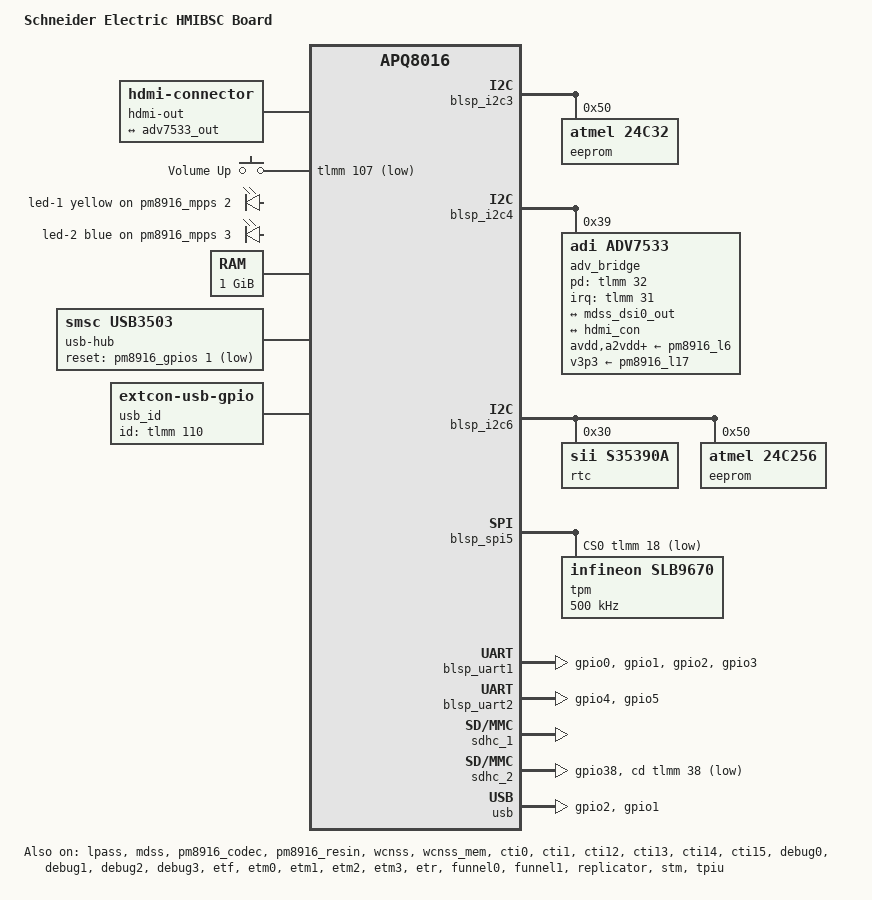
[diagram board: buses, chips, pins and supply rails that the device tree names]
// SPDX-License-Identifier: GPL-2.0-only
/*
 * Copyright (c) 2015, The Linux Foundation. All rights reserved.
 * Copyright (c) 2024, Linaro Ltd.
 */

/dts-v1/;

#include "msm8916-pm8916.dtsi"
#include <dt-bindings/gpio/gpio.h>
#include <dt-bindings/input/input.h>
#include <dt-bindings/leds/common.h>
#include <dt-bindings/pinctrl/qcom,pmic-gpio.h>
#include <dt-bindings/pinctrl/qcom,pmic-mpp.h>
#include <dt-bindings/sound/apq8016-lpass.h>

/ {
	model = "Schneider Electric HMIBSC Board";
	compatible = "schneider,apq8016-hmibsc", "qcom,apq8016";

	aliases {
		i2c1 = &blsp_i2c6;
		i2c3 = &blsp_i2c4;
		i2c4 = &blsp_i2c3;
		mmc0 = &sdhc_1; /* eMMC */
		mmc1 = &sdhc_2; /* SD card */
		serial0 = &blsp_uart1;
		serial1 = &blsp_uart2;
		spi0 = &blsp_spi5;
		usid0 = &pm8916_0;
	};

	chosen {
		stdout-path = "serial0";
	};

	hdmi-out {
		compatible = "hdmi-connector";
		type = "a";

		port {
			hdmi_con: endpoint {
				remote-endpoint = <&adv7533_out>;
			};
		};
	};

	gpio-keys {
		compatible = "gpio-keys";
		autorepeat;
		pinctrl-0 = <&msm_key_volp_n_default>;
		pinctrl-names = "default";

		button {
			label = "Volume Up";
			linux,code = <KEY_VOLUMEUP>;
			gpios = <&tlmm 107 GPIO_ACTIVE_LOW>;
		};
	};

	leds {
		compatible = "gpio-leds";
		pinctrl-0 = <&pm8916_mpps_leds>;
		pinctrl-names = "default";

		led-1 {
			function = LED_FUNCTION_WLAN;
			color = <LED_COLOR_ID_YELLOW>;
			gpios = <&pm8916_mpps 2 GPIO_ACTIVE_HIGH>;
			linux,default-trigger = "phy0tx";
			default-state = "off";
		};

		led-2 {
			function = LED_FUNCTION_BLUETOOTH;
			color = <LED_COLOR_ID_BLUE>;
			gpios = <&pm8916_mpps 3 GPIO_ACTIVE_HIGH>;
			linux,default-trigger = "bluetooth-power";
			default-state = "off";
		};
	};

	memory@80000000 {
		reg = <0 0x80000000 0 0x40000000>;
	};

	reserved-memory {
		ramoops@bff00000 {
			compatible = "ramoops";
			reg = <0x0 0xbff00000 0x0 0x100000>;
			record-size = <0x20000>;
			console-size = <0x20000>;
			ftrace-size = <0x20000>;
			ecc-size = <16>;
		};
	};

	usb-hub {
		compatible = "smsc,usb3503";
		reset-gpios = <&pm8916_gpios 1 GPIO_ACTIVE_LOW>;
		initial-mode = <1>;
	};

	usb_id: usb-id {
		compatible = "linux,extcon-usb-gpio";
		id-gpios = <&tlmm 110 GPIO_ACTIVE_HIGH>;
		pinctrl-0 = <&usb_id_default>;
		pinctrl-names = "default";
	};
};

&blsp_i2c3 {
	status = "okay";

	eeprom@50 {
		compatible = "atmel,24c32";
		reg = <0x50>;
	};
};

&blsp_i2c4 {
	status = "okay";

	adv_bridge: bridge@39 {
		compatible = "adi,adv7533";
		reg = <0x39>;
		interrupts-extended = <&tlmm 31 IRQ_TYPE_EDGE_FALLING>;

		adi,dsi-lanes = <4>;
		clocks = <&rpmcc RPM_SMD_BB_CLK2>;
		clock-names = "cec";
		pd-gpios = <&tlmm 32 GPIO_ACTIVE_HIGH>;

		avdd-supply = <&pm8916_l6>;
		a2vdd-supply = <&pm8916_l6>;
		dvdd-supply = <&pm8916_l6>;
		pvdd-supply = <&pm8916_l6>;
		v1p2-supply = <&pm8916_l6>;
		v3p3-supply = <&pm8916_l17>;

		pinctrl-0 = <&adv7533_int_active &adv7533_switch_active>;
		pinctrl-1 = <&adv7533_int_suspend &adv7533_switch_suspend>;
		pinctrl-names = "default","sleep";
		#sound-dai-cells = <0>;

		ports {
			#address-cells = <1>;
			#size-cells = <0>;

			port@0 {
				reg = <0>;
				adv7533_in: endpoint {
					remote-endpoint = <&mdss_dsi0_out>;
				};
			};

			port@1 {
				reg = <1>;
				adv7533_out: endpoint {
					remote-endpoint = <&hdmi_con>;
				};
			};
		};
	};
};

&blsp_i2c6 {
	status = "okay";

	rtc@30 {
		compatible = "sii,s35390a";
		reg = <0x30>;
	};

	eeprom@50 {
		compatible = "atmel,24c256";
		reg = <0x50>;
	};
};

&blsp_spi5 {
	cs-gpios = <&tlmm 18 GPIO_ACTIVE_LOW>;
	status = "okay";

	tpm@0 {
		compatible = "infineon,slb9670", "tcg,tpm_tis-spi";
		reg = <0>;
		spi-max-frequency = <500000>;
	};
};

&blsp_uart1 {
	pinctrl-0 = <&blsp_uart1_default>;
	pinctrl-1 = <&blsp_uart1_sleep>;
	pinctrl-names = "default", "sleep";
	label = "UART0";
	status = "okay";
};

&blsp_uart2 {
	pinctrl-0 = <&blsp_uart2_default>;
	pinctrl-1 = <&blsp_uart2_sleep>;
	pinctrl-names = "default", "sleep";
	label = "UART1";
	status = "okay";
};

&lpass {
	status = "okay";
};

&mdss {
	status = "okay";
};

&mdss_dsi0_out {
	data-lanes = <0 1 2 3>;
	remote-endpoint = <&adv7533_in>;
};

&pm8916_codec {
	qcom,mbhc-vthreshold-low = <75 150 237 450 500>;
	qcom,mbhc-vthreshold-high = <75 150 237 450 500>;
	status = "okay";
};

&pm8916_gpios {
	gpio-line-names =
		"USB_HUB_RESET_N_PM",
		"USB_SW_SEL_PM",
		"NC",
		"NC";

	usb_hub_reset_pm: usb-hub-reset-pm-state {
		pins = "gpio1";
		function = PMIC_GPIO_FUNC_NORMAL;
		input-disable;
		output-high;
	};

	usb_hub_reset_pm_device: usb-hub-reset-pm-device-state {
		pins = "gpio1";
		function = PMIC_GPIO_FUNC_NORMAL;
		input-disable;
		output-low;
	};

	usb_sw_sel_pm: usb-sw-sel-pm-state {
		pins = "gpio2";
		function = PMIC_GPIO_FUNC_NORMAL;
		power-source = <PM8916_GPIO_VPH>;
		input-disable;
		output-high;
	};

	usb_sw_sel_pm_device: usb-sw-sel-pm-device-state {
		pins = "gpio2";
		function = PMIC_GPIO_FUNC_NORMAL;
		power-source = <PM8916_GPIO_VPH>;
		input-disable;
		output-low;
	};
};

&pm8916_mpps {
	gpio-line-names =
		"NC",
		"WLAN_LED_CTRL",
		"BT_LED_CTRL",
		"NC";

	pm8916_mpps_leds: pm8916-mpps-state {
		pins = "mpp2", "mpp3";
		function = "digital";
		output-low;
	};
};

&pm8916_resin {
	linux,code = <KEY_POWER>;
	status = "okay";
};

&pm8916_rpm_regulators {
	pm8916_l17: l17 {
		regulator-min-microvolt = <3300000>;
		regulator-max-microvolt = <3300000>;
	};
};

&sdhc_1 {
	status = "okay";
};

&sdhc_2 {
	pinctrl-0 = <&sdc2_default &sdc2_cd_default>;
	pinctrl-1 = <&sdc2_sleep &sdc2_cd_default>;
	pinctrl-names = "default", "sleep";
	cd-gpios = <&tlmm 38 GPIO_ACTIVE_LOW>;
	status = "okay";
};

&sound {
	pinctrl-0 = <&cdc_pdm_default &sec_mi2s_default>;
	pinctrl-1 = <&cdc_pdm_sleep &sec_mi2s_sleep>;
	pinctrl-names = "default", "sleep";
	model = "HMIBSC";
	audio-routing =
		"AMIC2", "MIC BIAS Internal2",
		"AMIC3", "MIC BIAS External1";
	status = "okay";

	quaternary-dai-link {
		link-name = "ADV7533";
		cpu {
			sound-dai = <&lpass MI2S_QUATERNARY>;
		};
		codec {
			sound-dai = <&adv_bridge 0>;
		};
	};

	primary-dai-link {
		link-name = "WCD";
		cpu {
			sound-dai = <&lpass MI2S_PRIMARY>;
		};
		codec {
			sound-dai = <&lpass_codec 0>, <&pm8916_codec 0>;
		};
	};

	tertiary-dai-link {
		link-name = "WCD-Capture";
		cpu {
			sound-dai = <&lpass MI2S_TERTIARY>;
		};
		codec {
			sound-dai = <&lpass_codec 1>, <&pm8916_codec 1>;
		};
	};
};

&tlmm {
	pinctrl-0 = <&uart1_mux0_rs232_high &uart1_mux1_rs232_low>;
	pinctrl-names = "default";

	adv7533_int_active: adv533-int-active-state {
		pins = "gpio31";
		function = "gpio";
		drive-strength = <16>;
		bias-disable;
	};

	adv7533_int_suspend: adv7533-int-suspend-state {
		pins = "gpio31";
		function = "gpio";
		drive-strength = <2>;
		bias-disable;
	};

	adv7533_switch_active: adv7533-switch-active-state {
		pins = "gpio32";
		function = "gpio";
		drive-strength = <16>;
		bias-disable;
	};

	adv7533_switch_suspend: adv7533-switch-suspend-state {
		pins = "gpio32";
		function = "gpio";
		drive-strength = <2>;
		bias-disable;
	};

	blsp_uart1_default: blsp-uart1-default-state {
		/* TX, RX, CTS_N, RTS_N */
		pins = "gpio0", "gpio1", "gpio2", "gpio3";
		function = "blsp_uart1";
		drive-strength = <16>;
		bias-disable;
		bootph-all;
	};

	blsp_uart1_sleep: blsp-uart1-sleep-state {
		pins = "gpio0", "gpio1", "gpio2", "gpio3";
		function = "gpio";
		drive-strength = <2>;
		bias-pull-down;
	};

	blsp_uart2_default: blsp-uart2-default-state {
		/* TX, RX */
		pins = "gpio4", "gpio5";
		function = "blsp_uart2";
		drive-strength = <16>;
		bias-disable;
	};

	blsp_uart2_sleep: blsp-uart2-sleep-state {
		pins = "gpio4", "gpio5";
		function = "gpio";
		drive-strength = <2>;
		bias-pull-down;
	};

	msm_key_volp_n_default: msm-key-volp-n-default-state {
		pins = "gpio107";
		function = "gpio";
		drive-strength = <8>;
		bias-pull-up;
	};

	sdc2_cd_default: sdc2-cd-default-state {
		pins = "gpio38";
		function = "gpio";
		drive-strength = <2>;
		bias-disable;
	};

	/*
	 * UART1 being the debug console supports various modes of
	 * operation (RS-232/485/422) controlled via GPIOs configured
	 * mux as follows:
	 *
	 *   gpio100    gpio99    UART mode
	 *   0          0         loopback
	 *   0          1         RS-232
	 *   1          0         RS-485
	 *   1          1         RS-422
	 *
	 * The default mode configured here is RS-232 mode.
	 */
	uart1_mux0_rs232_high: uart1-mux0-rs232-state {
		bootph-all;
		pins = "gpio99";
		function = "gpio";
		drive-strength = <16>;
		bias-disable;
		output-high;
	};

	uart1_mux1_rs232_low: uart1-mux1-rs232-state {
		bootph-all;
		pins = "gpio100";
		function = "gpio";
		drive-strength = <16>;
		bias-disable;
		output-low;
	};

	usb_id_default: usb-id-default-state {
		pins = "gpio110";
		function = "gpio";
		drive-strength = <8>;
		bias-pull-up;
	};
};

&usb {
	extcon = <&usb_id>, <&usb_id>;
	pinctrl-0 = <&usb_sw_sel_pm &usb_hub_reset_pm>;
	pinctrl-1 = <&usb_sw_sel_pm_device &usb_hub_reset_pm_device>;
	pinctrl-names = "default", "device";
	status = "okay";
};

&usb_hs_phy {
	extcon = <&usb_id>;
};

&wcnss {
	firmware-name = "qcom/apq8016/wcnss.mbn";
	status = "okay";
};

&wcnss_ctrl {
	firmware-name = "qcom/apq8016/WCNSS_qcom_wlan_nv_sbc.bin";
};

&wcnss_iris {
	compatible = "qcom,wcn3620";
};

&wcnss_mem {
	status = "okay";
};

/* PINCTRL - additions to nodes defined in msm8916.dtsi */

/*
 * 2mA drive strength is not enough when connecting multiple
 * I2C devices with different pull up resistors.
 */
&blsp_i2c4_default {
	drive-strength = <16>;
};

&blsp_i2c6_default {
	drive-strength = <16>;
};

/* Enable CoreSight */
&cti0 { status = "okay"; };
&cti1 { status = "okay"; };
&cti12 { status = "okay"; };
&cti13 { status = "okay"; };
&cti14 { status = "okay"; };
&cti15 { status = "okay"; };
&debug0 { status = "okay"; };
&debug1 { status = "okay"; };
&debug2 { status = "okay"; };
&debug3 { status = "okay"; };
&etf { status = "okay"; };
&etm0 { status = "okay"; };
&etm1 { status = "okay"; };
&etm2 { status = "okay"; };
&etm3 { status = "okay"; };
&etr { status = "okay"; };
&funnel0 { status = "okay"; };
&funnel1 { status = "okay"; };
&replicator { status = "okay"; };
&stm { status = "okay"; };
&tpiu { status = "okay"; };
